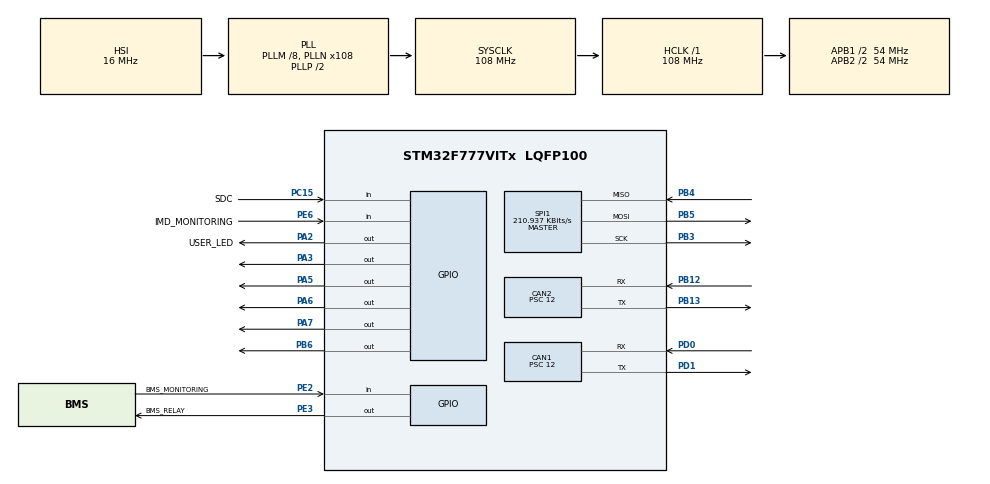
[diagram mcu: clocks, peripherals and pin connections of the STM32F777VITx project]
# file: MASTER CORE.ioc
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CAN1.BS1=CAN_BS1_6TQ
CAN1.BS2=CAN_BS2_2TQ
CAN1.CalculateBaudRate=500000
CAN1.CalculateTimeBit=2000
CAN1.CalculateTimeQuantum=222.22222222222223
CAN1.Prescaler=12
CAN2.BS1=CAN_BS1_2TQ
CAN2.BS2=CAN_BS2_6TQ
CAN2.CalculateBaudRate=500000
CAN2.CalculateTimeBit=2000
CAN2.CalculateTimeQuantum=222.22222222222223
CAN2.Prescaler=12
CAN2.SJW=CAN_SJW_1TQ
CORTEX_M7.default_mode_Activation=1
Mcu.Family=STM32F7
Mcu.Name=STM32F777VITx
Mcu.Package=LQFP100
NVIC.CAN1_RX0_IRQn=true\:3\:0\:true\:false\:true\:true\:true\:true
NVIC.CAN1_RX1_IRQn=true\:3\:0\:true\:false\:true\:true\:true\:true
NVIC.CAN1_SCE_IRQn=true\:0\:0\:false\:false\:true\:true\:true\:true
NVIC.CAN1_TX_IRQn=true\:1\:0\:true\:false\:true\:true\:true\:true
NVIC.CAN2_RX0_IRQn=true\:2\:0\:true\:false\:true\:true\:true\:true
NVIC.CAN2_RX1_IRQn=true\:2\:0\:true\:false\:true\:true\:true\:true
NVIC.CAN2_SCE_IRQn=true\:0\:0\:false\:false\:true\:true\:true\:true
NVIC.CAN2_TX_IRQn=true\:0\:0\:false\:false\:true\:true\:true\:true
NVIC.PriorityGroup=NVIC_PRIORITYGROUP_4
NVIC.SPI1_IRQn=true\:0\:0\:false\:false\:true\:true\:true\:true
NVIC.TIM8_TRG_COM_TIM14_IRQn=true\:0\:0\:false\:false\:true\:true\:true\:true
NVIC.TIM8_UP_TIM13_IRQn=true\:0\:0\:false\:false\:true\:true\:true\:true
PA2.GPIO_Label=USER_LED
PA2.Signal=GPIO_Output
PA3.Signal=GPIO_Output
PA5.Signal=GPIO_Output
PA6.Signal=GPIO_Output
PA7.Signal=GPIO_Output
PB12.Mode=CAN_Activate
PB12.Signal=CAN2_RX
PB13.Mode=CAN_Activate
PB13.Signal=CAN2_TX
PB3.GPIO_PuPd=GPIO_NOPULL
PB3.Mode=Full_Duplex_Master
PB3.Signal=SPI1_SCK
PB4.GPIO_PuPd=GPIO_PULLUP
PB4.Mode=Full_Duplex_Master
PB4.Signal=SPI1_MISO
PB5.GPIO_PuPd=GPIO_PULLUP
PB5.Mode=Full_Duplex_Master
PB5.Signal=SPI1_MOSI
PB6.GPIO_PuPd=GPIO_PULLUP
PB6.Signal=GPIO_Output
PC15/OSC32_OUT.GPIO_Label=SDC
PC15/OSC32_OUT.GPIO_PuPd=GPIO_PULLUP
PC15/OSC32_OUT.Signal=GPIO_Input
PD0.Mode=CAN_Activate
PD0.Signal=CAN1_RX
PD1.Mode=CAN_Activate
PD1.Signal=CAN1_TX
PE2.GPIO_Label=BMS_MONITORING
PE2.GPIO_PuPd=GPIO_NOPULL
PE2.Signal=GPIO_Input
PE3.GPIO_Label=BMS_RELAY
PE3.GPIO_PuPd=GPIO_NOPULL
PE3.Signal=GPIO_Output
PE6.GPIO_Label=IMD_MONITORING
PE6.GPIO_PuPd=GPIO_NOPULL
PE6.Signal=GPIO_Input
PH0/OSC_IN.Mode=HSE-External-Oscillator
PH0/OSC_IN.Signal=RCC_OSC_IN
PH1/OSC_OUT.Mode=HSE-External-Oscillator
PH1/OSC_OUT.Signal=RCC_OSC_OUT
ProjectManager.HeapSize=0x200
ProjectManager.StackSize=0x400
ProjectManager.TargetToolchain=STM32CubeIDE
RCC.AHBFreq_Value=108000000
RCC.APB1CLKDivider=RCC_HCLK_DIV2
RCC.APB1Freq_Value=54000000
RCC.APB1TimFreq_Value=108000000
RCC.APB2CLKDivider=RCC_HCLK_DIV2
RCC.APB2Freq_Value=54000000
RCC.APB2TimFreq_Value=108000000
RCC.CortexFreq_Value=108000000
RCC.DATA_CACHE_ENABLE=1
RCC.HCLKFreq_Value=108000000
RCC.HSE_VALUE=25000000
RCC.HSI_VALUE=16000000
RCC.INSTRUCTION_CACHE_ENABLE=1
RCC.LSE_Drive_CapabilityArg=RCC_LSEDRIVE_LOW
RCC.LSE_VALUE=32768
RCC.MSIAutoCalibration=ENABLED
RCC.MSICalibrationValue=0
RCC.PLLM=8
RCC.PLLN=108
RCC.PREFETCH_ENABLE=0
RCC.SYSCLKFreq_VALUE=108000000
RCC.SYSCLKSource=RCC_SYSCLKSOURCE_PLLCLK
RCC.USBFreq_Value=108000000
RCC.VCOOutputFreq_Value=216000000
SPI1.BaudRatePrescaler=SPI_BAUDRATEPRESCALER_256
SPI1.CLKPhase=SPI_PHASE_2EDGE
SPI1.CLKPolarity=SPI_POLARITY_HIGH
SPI1.CalculateBaudRate=210.937 KBits/s
SPI1.DataSize=SPI_DATASIZE_8BIT
SPI1.Direction=SPI_DIRECTION_2LINES
SPI1.Mode=SPI_MODE_MASTER
SPI1.VirtualType=VM_MASTER
TIM13.Period=10800
TIM13.Prescaler=10-1
TIM14.Period=10000
TIM14.Prescaler=10-1
VP_TIM13_VS_ClockSourceINT.Mode=Enable_Timer
VP_TIM14_VS_ClockSourceINT.Mode=Enable_Timer
board=custom

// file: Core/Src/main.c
/* USER CODE BEGIN Header */
/**
  ******************************************************************************
  * @file           : main.c
  * @brief          : Main program body
  ******************************************************************************
  * @attention
  *
  * Copyright (c) 2024 STMicroelectronics.
  * All rights reserved.
  *
  * This software is licensed under terms that can be found in the LICENSE file
  * in the root directory of this software component.
  * If no LICENSE file comes with this software, it is provided AS-IS.
  *
  ******************************************************************************
  */
/* USER CODE END Header */
#include "main.h"

/* USER CODE BEGIN Includes */
#include "LTC6811-1_eTechRacing.h"
#include "eTechRacing.h"
#include <stdio.h>
#include <stdlib.h>
#include "errors.h"
#include "can_comunication.h"
#include "BMS.h"
/* USER CODE END Includes */

CAN_HandleTypeDef hcan1;
CAN_HandleTypeDef hcan2;

SPI_HandleTypeDef hspi1;

TIM_HandleTypeDef htim13;
TIM_HandleTypeDef htim14;

/* USER CODE BEGIN PV */
//ERRORS---------------------------------------------------------------------------------
uint8_t BMS_OK = 1;
//uint8_t PEC_SLAVES_Temp[8*TOTAL_IC];
//uint8_t PEC_SLAVES_Volt[4*TOTAL_IC];
uint8_t PEC_SLAVES_Temp[120];
uint8_t PEC_SLAVES_Volt[60];

//Informació rebuda i calculada------------------------------------------------------------------
//uint16_t voltatjes[12*TOTAL_IC];
//uint16_t temperatures[8*TOTAL_IC];
//uint16_t temperatures_conv[8*TOTAL_IC];
uint16_t voltatjes[180];
uint16_t temperatures[120];
uint16_t temperatures_conv[120];
int32_t Current;
uint8_t curr_arr[4];
uint16_t min_volt;
uint16_t max_volt;
uint32_t sum_volt;
uint16_t min_temp;
uint16_t max_temp;
float mean_temp;
float mean_volt;

//FLAGS EVALUATIONS------------------------------------------------------------------------------------------
//uint32_t ov_flag_arr[12*TOTAL_IC];
//uint32_t uv_flag_arr[12*TOTAL_IC];
//uint32_t ot_flag_arr[8*TOTAL_IC];
//uint32_t sd_flag_arr_volt[4*TOTAL_IC];
//uint32_t sd_flag_arr_temp[8*TOTAL_IC];
uint32_t ov_flag_arr[180];
uint32_t uv_flag_arr[180];
uint32_t ot_flag_arr[120];
uint32_t sd_flag_arr_volt[60];
uint32_t sd_flag_arr_temp[120];
uint32_t oc_flag_arr[1];
uint32_t etas_flag[1];
uint32_t current_flag[1];
uint32_t current_sync_flag[1];
uint32_t can_balancing_flag[1];

uint8_t current_error[1] = {1};
uint8_t KEEP_ALIVE = 0;
uint8_t BMS_MONITORING = 0;
uint8_t IMD_MONITORING = 0;
uint8_t SDC_MONITORING = 0;
uint8_t AMS_LED = 1;
uint8_t IMD_LED = 1;

//FLAGS------------------------------------------------------------------------------------------
uint8_t OV_FLAG = 1;
uint8_t UV_FLAG = 1;
uint8_t OT_FLAG = 1;
uint8_t UT_FLAG = 0;				//Not evaluated
uint8_t OC_FLAG = 1;
uint8_t SD_FLAG = 1;
uint8_t CE_FLAG = 1;
uint8_t ETAS_SYNC_FLAG = 0;
uint8_t CURR_SYNC_FLAG = 1;
uint8_t CAN_BALANCING_FLAG = 0;

uint8_t Airs_State[4] = {0,0,0,0}; //0 airs state,1 air+ state,  2 air- state, 3precharge state

uint8_t msg = 0;

//Configuració-----------------------------------------------------------------------------------
uint8_t GPIOx = 0b00000011;
uint8_t CH = 0b00000000;
uint8_t BLC = 0;							// 0 if not balancing; 1 if balancing
uint8_t AIRs_request = 0;
uint8_t CURR_STATE = 1;

//CAN--------------------------------------------------------------------------------------------
CAN_RxHeaderTypeDef RxHeader;
CAN_TxHeaderTypeDef TxHeader;
CAN_FilterTypeDef canfil;
CAN_FilterTypeDef canfil2;
uint8_t RxData[30];
uint8_t TxData[30];

//INTERRUPCIO TIMER TEMPREATURES I VOLTATJES
uint16_t COBID_TEMP = 0x11A;
uint16_t COBID_VOLT = 0xEA;
uint8_t IC_TEMP = 0;
uint8_t IC_VOLT = 0;
uint8_t RX_VOLT_TEMP = 0;

uint8_t BMS_SELECTION = 0;
uint8_t val = 0;
/* USER CODE END PV */

void SystemClock_Config(void);
static void MPU_Config(void);
static void MX_GPIO_Init(void);
static void MX_SPI1_Init(void);
static void MX_CAN1_Init(void);
static void MX_TIM14_Init(void);
static void MX_CAN2_Init(void);
static void MX_TIM13_Init(void);

int main(void)
{

  /* MPU Configuration--------------------------------------------------------*/
  MPU_Config();

  /* MCU Configuration--------------------------------------------------------*/

  /* Reset of all peripherals, Initializes the Flash interface and the Systick. */
  HAL_Init();

  /* Configure the system clock */
  SystemClock_Config();

  /* Initialize all configured peripherals */
  MX_GPIO_Init();
  MX_SPI1_Init();
  MX_CAN1_Init();
  MX_TIM14_Init();
  MX_CAN2_Init();
  MX_TIM13_Init();

  /* Infinite loop */
  /* USER CODE BEGIN WHILE */
  //INICIALITZACIÓ DE CAN-------------------------------------------------------------------------

  CAN1_FILTER_INIT(&canfil);											//CAN 1 Filter
  CAN2_FILTER_INIT(&canfil2);											//CAN 2 Filter

  CAN1_CONFIG_INIT(canfil, hcan1);										//CAN 1 Configuration - Initialization
  CAN2_CONFIG_INIT(canfil2, hcan2);										//CAN 2 Configuration - Initialization

  if(HAL_TIM_Base_Start_IT(&htim14) != HAL_OK) Error_Handler();			//TIMER 14 Initialization
  if(HAL_TIM_Base_Start_IT(&htim13) != HAL_OK) Error_Handler();			//TIMER 13 Initialization

  HAL_GPIO_WritePin(BMS_RELAY_PORT, BMS_RELAY_PIN, GPIO_PIN_RESET);		//Close BMS relay

  outputCS(1);															//Set CS high
  while (1)
  {
//Voltage & Temperature lectures--------------------------------------------------------------------
	  ltc6811_rav(hspi1, PEC_SLAVES_Volt, voltatjes, GPIOx, CH, BLC, min_volt);	//Voltage lectures

//Voltage & Temperature lectures--------------------------------------------------------------------
	   ltc6811_rat(hspi1, PEC_SLAVES_Temp, voltatjes, temperatures, BLC, min_volt); //Temperature lectures
	   Conv_Temp(temperatures, temperatures_conv);									//Temperature lectures conversion
	   switch(BMS_SELECTION){
	   case 0:
		   //Calculation of min, max, avg volt, avg temp & current-----------------------------------------------------------
		   	   min_volt = Min_Volt(voltatjes);									//Minimum voltage calculation
		   	   max_volt = Max_Volt(voltatjes);									//Maximum voltage calculation
		   	   sum_volt = Sum_Volt(voltatjes);									//Sum of all voltages
		   	   mean_volt = Mean_Volt(voltatjes);								//Mean voltage calculation
		   	   min_temp = Min_Temp(temperatures_conv);							//Minimum temperature calculation
		   	   max_temp = Max_Temp(temperatures_conv);							//Maximum temperature calculation
		   	   mean_temp = Mean_Temp(temperatures_conv);						//Mean temperature calculation

		   //Errors evaluation---------------------------------------------------------------------------------------
		   	   OV_FLAG = OV_EVAL(voltatjes, ov_flag_arr);						//Over voltage error evaluation
		   	   UV_FLAG = UV_EVAL(voltatjes, uv_flag_arr);						//Under voltage error evaluation
		   	   OT_FLAG = OT_EVAL(temperatures_conv, ot_flag_arr);				//Over temperature error evaluation
		   	   OC_FLAG = detection_BMSerror_OverCurrent(Current, oc_flag_arr);	//Over current error evaluation
		   	   ETAS_SYNC_FLAG = ETAS_SYNC_EVAL(etas_flag);						//Evaluate if the ETAS is alive
		   	   CURR_SYNC_FLAG = CURR_SYNC_EVAL(current_sync_flag);				//Evaluate if the current sensor is alive
		   	   CAN_BALANCING_FLAG = BALANCING_SYNC_EVAL(can_balancing_flag);	//Evaluate the forced balancing sent by CANoe
		   	   SD_FLAG = slave_disc(PEC_SLAVES_Volt, PEC_SLAVES_Temp, sd_flag_arr_volt, sd_flag_arr_temp); //Evaluate the slave disconnection
		   	   CE_FLAG = current_error_eval(current_error, current_flag);		//Evaluate if there is a current error for more than 500ms
		   	   if(HAL_GetTick()>4500){
		   	   if(((OV_FLAG == 1) || (UV_FLAG == 1) || (OT_FLAG == 1) || (OC_FLAG == 1) ||(SD_FLAG == 1)||(CE_FLAG == 1)||(CURR_SYNC_FLAG == 1)) ) BMS_OK = 0;	}//If there is any error, BMS_OK = 0
			   BMS_MONITORING = HAL_GPIO_ReadPin(BMS_MONITORING_PORT, BMS_MONITORING_PIN)^1 ;	//Evaluate the BMS_Monitoring pin
			   IMD_MONITORING = HAL_GPIO_ReadPin(IMD_MONITORING_PORT, IMD_MONITORING_PIN)^1;	//Evaluate the IMD_Monitoring pin
			   SDC_MONITORING = HAL_GPIO_ReadPin(SDC_MONITORING_PORT, SDC_MONITORING_PIN)^1;	//Evaluate the SDC_Monitoring pin
			   AMS_LED = BMS_OK;
			   if(BMS_MONITORING==1 && IMD_MONITORING == 0){
				   IMD_LED = 0;
			   }
			   break;
	   case 1:
		   //Calculation of min, max, avg volt, avg temp & current-----------------------------------------------------------
		   	   min_volt = 36000;
		   	   max_volt = 39500;
		   	   sum_volt = 5880000;
		   	   mean_volt = 37500;
		   	   min_temp = 252;
		   	   max_temp = 263;
		   	   mean_temp = 256;

		   //Errors evaluation---------------------------------------------------------------------------------------
		   	   OV_FLAG = 0;
		   	   UV_FLAG = 0;
		   	   OT_FLAG = 0;
		   	   OC_FLAG = 0;
		   	   ETAS_SYNC_FLAG = ETAS_SYNC_EVAL(etas_flag);						//Evaluate if the ETAS is alive
		   	   CURR_SYNC_FLAG = CURR_SYNC_EVAL(current_sync_flag);				//Evaluate if the current sensor is alive
		   	   CAN_BALANCING_FLAG = BALANCING_SYNC_EVAL(can_balancing_flag);	//Evaluate the forced balancing sent by CANoe
		   	   SD_FLAG = slave_disc(PEC_SLAVES_Volt, PEC_SLAVES_Temp, sd_flag_arr_volt, sd_flag_arr_temp); //Evaluate the slave disconnection
		   	   CE_FLAG = current_error_eval(current_error, current_flag);		//Evaluate if there is a current error for more than 500ms
		   	 BMS_MONITORING = HAL_GPIO_ReadPin(BMS_MONITORING_PORT, BMS_MONITORING_PIN)^1 ;	//Evaluate the BMS_Monitoring pin
		   				   IMD_MONITORING = HAL_GPIO_ReadPin(IMD_MONITORING_PORT, IMD_MONITORING_PIN)^1;	//Evaluate the IMD_Monitoring pin
		   				   SDC_MONITORING = HAL_GPIO_ReadPin(SDC_MONITORING_PORT, SDC_MONITORING_PIN)^1;	//Evaluate the SDC_Monitoring pin
			   BMS_OK = 1;
			   AMS_LED = BMS_OK;
			   if(BMS_MONITORING==1 && IMD_MONITORING == 0){
				   IMD_LED = 0;
			   }
		   break;
	   }
//State Machine Evaluation------------------------------------------------------------------------------
	   CURR_STATE = StateMachineSteps(CURR_STATE, AIRs_request, BMS_OK, ETAS_SYNC_FLAG);	//Evaluate which is the current state of the charging process
	   BLC = StateMachineActuation(CURR_STATE, Airs_State, CAN_BALANCING_FLAG);				//Actuates according to the current state of the charging process controlling the airs and balancing
   /* USER CODE END WHILE */

  }
}

void SystemClock_Config(void)
{
  RCC_OscInitTypeDef RCC_OscInitStruct = {0};
  RCC_ClkInitTypeDef RCC_ClkInitStruct = {0};

  /** Configure the main internal regulator output voltage
  */
  __HAL_RCC_PWR_CLK_ENABLE();
  __HAL_PWR_VOLTAGESCALING_CONFIG(PWR_REGULATOR_VOLTAGE_SCALE3);

  /** Initializes the RCC Oscillators according to the specified parameters
  * in the RCC_OscInitTypeDef structure.
  */
  RCC_OscInitStruct.OscillatorType = RCC_OSCILLATORTYPE_HSI;
  RCC_OscInitStruct.HSIState = RCC_HSI_ON;
  RCC_OscInitStruct.HSICalibrationValue = RCC_HSICALIBRATION_DEFAULT;
  RCC_OscInitStruct.PLL.PLLState = RCC_PLL_ON;
  RCC_OscInitStruct.PLL.PLLSource = RCC_PLLSOURCE_HSI;
  RCC_OscInitStruct.PLL.PLLM = 8;
  RCC_OscInitStruct.PLL.PLLN = 108;
  RCC_OscInitStruct.PLL.PLLP = RCC_PLLP_DIV2;
  RCC_OscInitStruct.PLL.PLLQ = 2;
  RCC_OscInitStruct.PLL.PLLR = 2;
  if (HAL_RCC_OscConfig(&RCC_OscInitStruct) != HAL_OK)
  {
    Error_Handler();
  }

  /** Activate the Over-Drive mode
  */
  if (HAL_PWREx_EnableOverDrive() != HAL_OK)
  {
    Error_Handler();
  }

  /** Initializes the CPU, AHB and APB buses clocks
  */
  RCC_ClkInitStruct.ClockType = RCC_CLOCKTYPE_HCLK|RCC_CLOCKTYPE_SYSCLK
                              |RCC_CLOCKTYPE_PCLK1|RCC_CLOCKTYPE_PCLK2;
  RCC_ClkInitStruct.SYSCLKSource = RCC_SYSCLKSOURCE_PLLCLK;
  RCC_ClkInitStruct.AHBCLKDivider = RCC_SYSCLK_DIV1;
  RCC_ClkInitStruct.APB1CLKDivider = RCC_HCLK_DIV2;
  RCC_ClkInitStruct.APB2CLKDivider = RCC_HCLK_DIV2;

  if (HAL_RCC_ClockConfig(&RCC_ClkInitStruct, FLASH_LATENCY_3) != HAL_OK)
  {
    Error_Handler();
  }
}

static void MX_CAN1_Init(void)
{

  hcan1.Instance = CAN1;
  hcan1.Init.Prescaler = 12;
  hcan1.Init.Mode = CAN_MODE_NORMAL;
  hcan1.Init.SyncJumpWidth = CAN_SJW_1TQ;
  hcan1.Init.TimeSeg1 = CAN_BS1_6TQ;
  hcan1.Init.TimeSeg2 = CAN_BS2_2TQ;
  hcan1.Init.TimeTriggeredMode = DISABLE;
  hcan1.Init.AutoBusOff = DISABLE;
  hcan1.Init.AutoWakeUp = DISABLE;
  hcan1.Init.AutoRetransmission = DISABLE;
  hcan1.Init.ReceiveFifoLocked = DISABLE;
  hcan1.Init.TransmitFifoPriority = DISABLE;
  if (HAL_CAN_Init(&hcan1) != HAL_OK)
  {
    Error_Handler();
  }

}

static void MX_CAN2_Init(void)
{

  hcan2.Instance = CAN2;
  hcan2.Init.Prescaler = 12;
  hcan2.Init.Mode = CAN_MODE_NORMAL;
  hcan2.Init.SyncJumpWidth = CAN_SJW_1TQ;
  hcan2.Init.TimeSeg1 = CAN_BS1_2TQ;
  hcan2.Init.TimeSeg2 = CAN_BS2_6TQ;
  hcan2.Init.TimeTriggeredMode = DISABLE;
  hcan2.Init.AutoBusOff = DISABLE;
  hcan2.Init.AutoWakeUp = DISABLE;
  hcan2.Init.AutoRetransmission = DISABLE;
  hcan2.Init.ReceiveFifoLocked = DISABLE;
  hcan2.Init.TransmitFifoPriority = DISABLE;
  if (HAL_CAN_Init(&hcan2) != HAL_OK)
  {
    Error_Handler();
  }

}

static void MX_SPI1_Init(void)
{

  /* SPI1 parameter configuration*/
  hspi1.Instance = SPI1;
  hspi1.Init.Mode = SPI_MODE_MASTER;
  hspi1.Init.Direction = SPI_DIRECTION_2LINES;
  hspi1.Init.DataSize = SPI_DATASIZE_8BIT;
  hspi1.Init.CLKPolarity = SPI_POLARITY_HIGH;
  hspi1.Init.CLKPhase = SPI_PHASE_2EDGE;
  hspi1.Init.NSS = SPI_NSS_SOFT;
  hspi1.Init.BaudRatePrescaler = SPI_BAUDRATEPRESCALER_256;
  hspi1.Init.FirstBit = SPI_FIRSTBIT_MSB;
  hspi1.Init.TIMode = SPI_TIMODE_DISABLE;
  hspi1.Init.CRCCalculation = SPI_CRCCALCULATION_DISABLE;
  hspi1.Init.CRCPolynomial = 7;
  hspi1.Init.CRCLength = SPI_CRC_LENGTH_DATASIZE;
  hspi1.Init.NSSPMode = SPI_NSS_PULSE_DISABLE;
  if (HAL_SPI_Init(&hspi1) != HAL_OK)
  {
    Error_Handler();
  }

}

static void MX_TIM13_Init(void)
{

  htim13.Instance = TIM13;
  htim13.Init.Prescaler = 10-1;
  htim13.Init.CounterMode = TIM_COUNTERMODE_UP;
  htim13.Init.Period = 10800;
  htim13.Init.ClockDivision = TIM_CLOCKDIVISION_DIV1;
  htim13.Init.AutoReloadPreload = TIM_AUTORELOAD_PRELOAD_DISABLE;
  if (HAL_TIM_Base_Init(&htim13) != HAL_OK)
  {
    Error_Handler();
  }

}

static void MX_TIM14_Init(void)
{

  htim14.Instance = TIM14;
  htim14.Init.Prescaler = 10-1;
  htim14.Init.CounterMode = TIM_COUNTERMODE_UP;
  htim14.Init.Period = 10000;
  htim14.Init.ClockDivision = TIM_CLOCKDIVISION_DIV1;
  htim14.Init.AutoReloadPreload = TIM_AUTORELOAD_PRELOAD_DISABLE;
  if (HAL_TIM_Base_Init(&htim14) != HAL_OK)
  {
    Error_Handler();
  }

}

static void MX_GPIO_Init(void)
{
  GPIO_InitTypeDef GPIO_InitStruct = {0};

  /* GPIO Ports Clock Enable */
  __HAL_RCC_GPIOE_CLK_ENABLE();
  __HAL_RCC_GPIOC_CLK_ENABLE();
  __HAL_RCC_GPIOH_CLK_ENABLE();
  __HAL_RCC_GPIOA_CLK_ENABLE();
  __HAL_RCC_GPIOB_CLK_ENABLE();
  __HAL_RCC_GPIOD_CLK_ENABLE();

  /*Configure GPIO pin Output Level */
  HAL_GPIO_WritePin(BMS_RELAY_GPIO_Port, BMS_RELAY_Pin, GPIO_PIN_RESET);

  /*Configure GPIO pin Output Level */
  HAL_GPIO_WritePin(GPIOA, USER_LED_Pin|GPIO_PIN_3|GPIO_PIN_5|GPIO_PIN_6
                          |GPIO_PIN_7, GPIO_PIN_RESET);

  /*Configure GPIO pin Output Level */
  HAL_GPIO_WritePin(GPIOB, GPIO_PIN_6, GPIO_PIN_RESET);

  /*Configure GPIO pins : BMS_MONITORING_Pin IMD_MONITORING_Pin */
  GPIO_InitStruct.Pin = BMS_MONITORING_Pin|IMD_MONITORING_Pin;
  GPIO_InitStruct.Mode = GPIO_MODE_INPUT;
  GPIO_InitStruct.Pull = GPIO_NOPULL;
  HAL_GPIO_Init(GPIOE, &GPIO_InitStruct);

  /*Configure GPIO pin : BMS_RELAY_Pin */
  GPIO_InitStruct.Pin = BMS_RELAY_Pin;
  GPIO_InitStruct.Mode = GPIO_MODE_OUTPUT_PP;
  GPIO_InitStruct.Pull = GPIO_NOPULL;
  GPIO_InitStruct.Speed = GPIO_SPEED_FREQ_LOW;
  HAL_GPIO_Init(BMS_RELAY_GPIO_Port, &GPIO_InitStruct);

  /*Configure GPIO pin : SDC_Pin */
  GPIO_InitStruct.Pin = SDC_Pin;
  GPIO_InitStruct.Mode = GPIO_MODE_INPUT;
  GPIO_InitStruct.Pull = GPIO_PULLUP;
  HAL_GPIO_Init(SDC_GPIO_Port, &GPIO_InitStruct);

  /*Configure GPIO pins : USER_LED_Pin PA3 PA5 PA6
                           PA7 */
  GPIO_InitStruct.Pin = USER_LED_Pin|GPIO_PIN_3|GPIO_PIN_5|GPIO_PIN_6
                          |GPIO_PIN_7;
  GPIO_InitStruct.Mode = GPIO_MODE_OUTPUT_PP;
  GPIO_InitStruct.Pull = GPIO_NOPULL;
  GPIO_InitStruct.Speed = GPIO_SPEED_FREQ_LOW;
  HAL_GPIO_Init(GPIOA, &GPIO_InitStruct);

  /*Configure GPIO pin : PB6 */
  GPIO_InitStruct.Pin = GPIO_PIN_6;
  GPIO_InitStruct.Mode = GPIO_MODE_OUTPUT_PP;
  GPIO_InitStruct.Pull = GPIO_PULLUP;
  GPIO_InitStruct.Speed = GPIO_SPEED_FREQ_LOW;
  HAL_GPIO_Init(GPIOB, &GPIO_InitStruct);

}

/* USER CODE BEGIN 4 */
void HAL_CAN_RxFifo0MsgPendingCallback(CAN_HandleTypeDef *hcan)
 {
   if(HAL_CAN_GetRxMessage(hcan, CAN_RX_FIFO0, &RxHeader, RxData) != HAL_OK){
   }
   if(RxHeader.StdId == ETAS_SYNC){					//If the received message through CAN 1 has the ETAS_SYNC COBID
	   msg = 1;									//Start the CAN transmitting function
	   etas_flag[0] = HAL_GetTick();			//Actualize the etas_flag with the current tick
   }
   if(RxHeader.StdId == AIRS_REQUEST){			//If the received message through CAN 1 has the AIRS_REQUEST COBID
	   AIRs_request = RxData[0];				//Save the RxData which contains the charging state number
   }

   if(RxHeader.StdId == CURRENT){				//If the received message through CAN 1 has the CURRENT COBID
	   Current = Curr_EVAL(RxData);				//Extract the current value sent by CAN 1
	   current_sync_flag[0]=HAL_GetTick();		//Actualize the current_sync_flag with the current tick
	   current_error[0] = RxData[4];			//Saves the error data byte of the current value
   }

 }
void HAL_CAN_RxFifo1MsgPendingCallback(CAN_HandleTypeDef *hcan)
 {
   if(HAL_CAN_GetRxMessage(hcan, CAN_RX_FIFO1, &RxHeader, RxData) != HAL_OK){
   }
   if(RxHeader.StdId == DISPLAY_SYNC){			//If the received message through CAN 2 has the DISPLAY_SYNC COBID
	   RX_VOLT_TEMP = 1;						//Set the RX_VOLT_TEMP to 1 to start the Voltages and Temperatures transmission through CAN 2
   }
   if(RxHeader.StdId == CAN_FORCED_BALANCING){	//If the received message through CAN 2 has the CAN_FORCED_BALANCING COBID
	   can_balancing_flag[0] = HAL_GetTick();	//Actualize the can_balancing_flag with the current tick
   }
   if(RxHeader.StdId == CAN_BMS_SELECTION){	//If the received message through CAN 2 has the CAN_FORCED_BALANCING COBID
	   BMS_SELECTION = RxData[0] & 0x01;	//Actualize the can_balancing_flag with the current tick
	   TOTAL_IC = RxData[0]>>1;
	   val = RxData[0];
   }
   if(RxHeader.StdId == CAN_BMS_SELECTION){	//If the received message through CAN 2 has the CAN_FORCED_BALANCING COBID

      }
 }

void HAL_TIM_PeriodElapsedCallback(TIM_HandleTypeDef *htim)
 {
   if (htim->Instance == TIM14)					//When the TIMER 14 has a pulse, the function moves 1 iteration forward, up to 5 times
   {
  	 switch(msg){								//Depending on the msg state
   case 1:
  	 message_cantx_Voltage_State(hcan1, min_volt, max_volt, sum_volt, TxData, TxHeader); 		//Send the min, max and mean voltage values through CAN 1
  	 msg=2;																						//Set the msg state to 2
  	 break;
   case 2:
  	 message_cantx_Temperature_State(hcan1, min_temp, max_temp, mean_temp, TxData, TxHeader);	//Send the min, max and mean temperature values through CAN 1
  	 msg=3;																						//Set the msg state to 3
  	 break;
   case 3:
  	 message_cantx_AIR_State(hcan1,Airs_State, TxData, TxHeader);								//Send the Airs_State array through CAN 1, contains the current state of each AIR
  	 msg=4;																						//Set the msg state to 4
  	 break;
   case 4:
  	 message_cantx_Keep_Alive(hcan1, KEEP_ALIVE, TxData, TxHeader);								//Send the Keep_Alive of the master
  	 KEEP_ALIVE++;																				//Sum 1 to the Keep_alive value
  	 msg=5;																						//Set the msg state to 5
  	 break;
   case 5:
  	 message_cantx_Shutdown(hcan1, SDC_MONITORING, BMS_MONITORING, IMD_MONITORING, AMS_LED, IMD_LED,TxData, TxHeader);	//Send the SDC, BMS, IMD monitoring through CAN 1
  	 msg =0;																							//Set the msg state to 0
  	 break;
   }
}
   if (htim->Instance == TIM13){					//When the TIMER 14 has a pulse, the function moves 1 iteration forward, up to 5 times
	if((RX_VOLT_TEMP<=2*TOTAL_IC) && (RX_VOLT_TEMP > 0)){						//Enters the function if RX_VOLT_TEMP is between 1 and 2*TOTAL_IC, so that the odd ones will be the TEMP Rx and the pair ones will be the VOLT Rx
	   if((RX_VOLT_TEMP == 1) || (RX_VOLT_TEMP == 3) || (RX_VOLT_TEMP == 5) || (RX_VOLT_TEMP == 7) || (RX_VOLT_TEMP == 9) || (RX_VOLT_TEMP == 11) || (RX_VOLT_TEMP == 13) || (RX_VOLT_TEMP == 15) || (RX_VOLT_TEMP == 17) || (RX_VOLT_TEMP == 19) || (RX_VOLT_TEMP == 21) || (RX_VOLT_TEMP == 23) || (RX_VOLT_TEMP == 25) || (RX_VOLT_TEMP == 27) || (RX_VOLT_TEMP == 29)){
		   message_cantx_TEMPERATURES_IT(COBID_TEMP, IC_TEMP, hcan2, temperatures_conv, TxData, TxHeader); //Send all voltages of a slave through CAN 2, the slave iterates by summing 1 to the IC
		   IC_TEMP = IC_TEMP+1;													//Sum 1 to the IC
		   if(IC_TEMP<TOTAL_IC) COBID_TEMP += 2;
		   else IC_TEMP = 0, COBID_TEMP = 0x11A;
	   }

	   else{
		   message_cantx_VOLTATJES_IT(COBID_VOLT, IC_VOLT, hcan2, voltatjes, TxData, TxHeader);
		   uint8_t increments[15] = {3,2,3,3,2,3,3,2,3,3,2,3,3,2,3};
		   IC_VOLT = IC_VOLT+1;
		   if (IC_VOLT < TOTAL_IC) COBID_VOLT += increments[IC_VOLT-1];
		   else IC_VOLT = 0, COBID_VOLT = 0xEA;
	   }
	   RX_VOLT_TEMP += 1;

	   message_cantx_SF(hcan2, UT_FLAG, OT_FLAG, OV_FLAG, UV_FLAG, OC_FLAG, Airs_State[3], Airs_State[1], Airs_State[2], SDC_MONITORING, BMS_OK, SD_FLAG, CE_FLAG, UV_FLAG, BLC, TxData, TxHeader);
	}
	else RX_VOLT_TEMP = 0;
   }

}
/* USER CODE END 4 */

 /* MPU Configuration */

void MPU_Config(void)
{
  MPU_Region_InitTypeDef MPU_InitStruct = {0};

  /* Disables the MPU */
  HAL_MPU_Disable();

  /** Initializes and configures the Region and the memory to be protected
  */
  MPU_InitStruct.Enable = MPU_REGION_ENABLE;
  MPU_InitStruct.Number = MPU_REGION_NUMBER0;
  MPU_InitStruct.BaseAddress = 0x0;
  MPU_InitStruct.Size = MPU_REGION_SIZE_4GB;
  MPU_InitStruct.SubRegionDisable = 0x87;
  MPU_InitStruct.TypeExtField = MPU_TEX_LEVEL0;
  MPU_InitStruct.AccessPermission = MPU_REGION_NO_ACCESS;
  MPU_InitStruct.DisableExec = MPU_INSTRUCTION_ACCESS_DISABLE;
  MPU_InitStruct.IsShareable = MPU_ACCESS_SHAREABLE;
  MPU_InitStruct.IsCacheable = MPU_ACCESS_NOT_CACHEABLE;
  MPU_InitStruct.IsBufferable = MPU_ACCESS_NOT_BUFFERABLE;

  HAL_MPU_ConfigRegion(&MPU_InitStruct);
  /* Enables the MPU */
  HAL_MPU_Enable(MPU_PRIVILEGED_DEFAULT);

}

void Error_Handler(void)
{
  __disable_irq();
  while (1)
  {
  }
}
